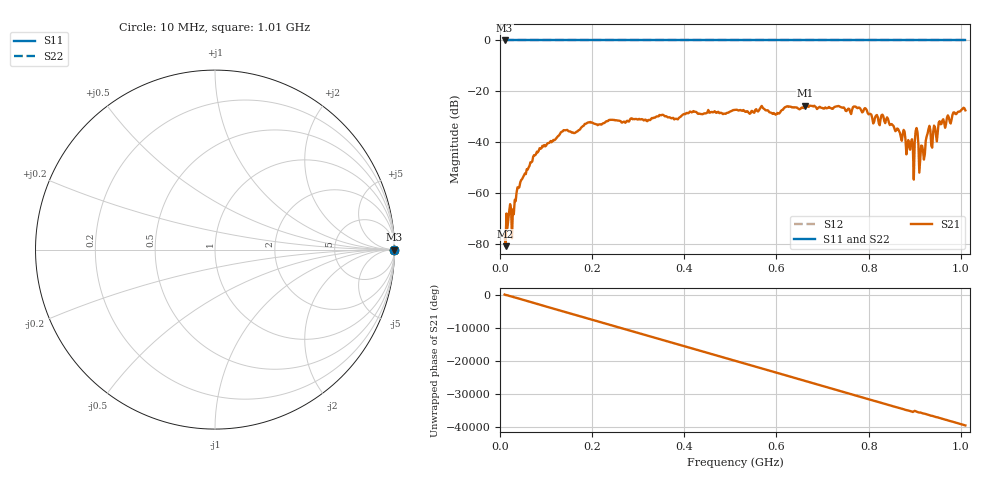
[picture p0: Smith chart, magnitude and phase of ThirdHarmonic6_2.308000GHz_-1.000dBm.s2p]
! 8/17/2025 3:11:10 AM
! C:\ANRITSUVNA\TEMP\TEMP.S2P
! CHANNEL.1
! TR.MEASUREMENT
! RAW.DATA
! RF.CORRECTION.OFF
! AVERAGING.OFF
! IF.BANDWIDTH: 5KHZ
! SWEEPTYPE:  FREQ.SWEEP(Linear)
! Reference Plane Port Info
! PORT:  PORT1  PORT2
! DISTANCE:  0  m  0  m
! TIME:  0  s  0  s
! PHASE.OFFSET:  0  deg.  0  deg.
! LOSS:  0  dB  0  dB
! REF.LOSS:  0  dB  0  dB
! REF.FREQ:  0  Hz  0  Hz
! Power Info
! POWER:  -20  dBm  -20  dBm
! EFF.POWER:  -20  dBm  -20  dBm
! SOURCE.ATTEN:  0  dB  0  dB
! TEST.ATTEN:  0  dB  0  dB
# GHZ S RI R 50.0
! FREQ.GHZ  S11RE  S11IM  S21RE  S21IM  S12RE  S12IM  S22RE  S22IM
!; PortSelection: Port_12
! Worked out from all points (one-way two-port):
!   501 points, 10 MHz to 1.01 GHz, reference 50 ohm
!   highest |S21| = -25.60 dB at 662 MHz (marker M1); lowest = -80.8 dB at 12 MHz (marker M2)
!   lowest |S11| = 0.0 dB at 10 MHz (marker M3)
!   |S11| at or under -10 dB: nowhere
!   |S22| runs from 0.0 to 0.0 dB; largest |S21 - S12| = 1.1
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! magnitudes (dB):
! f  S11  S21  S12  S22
! 10 MHz  0.0  -76.1  0.0  0.0
! 12 MHz  0.0  -80.8  0.0  0.0
! 18 MHz  0.0  -70.2  0.0  0.0
! 30 MHz  0.0  -68.2  0.0  0.0
! 42 MHz  0.0  -57.6  0.0  0.0
! 76 MHz  0.0  -45.1  0.0  0.0
! 136 MHz  0.0  -35.7  0.0  0.0
! 178 MHz  0.0  -33.9  0.0  0.0
! 344 MHz  0.0  -29.8  0.0  0.0
! 510 MHz  0.0  -27.2  0.0  0.0
! 662 MHz  0.0  -25.6  0.0  0.0
! 678 MHz  0.0  -25.7  0.0  0.0
! 770 MHz  0.0  -25.9  0.0  0.0
! 844 MHz  0.0  -32.2  0.0  0.0
! 890 MHz  0.0  -42.9  0.0  0.0
! 894 MHz  0.0  -38.8  0.0  0.0
! 904 MHz  0.0  -34.4  0.0  0.0
! 914 MHz  0.0  -41.3  0.0  0.0
! 930 MHz  0.0  -34.7  0.0  0.0
! 938 MHz  0.0  -42.1  0.0  0.0
! 956 MHz  0.0  -32.9  0.0  0.0
! 1.01 GHz  0.0  -27.4  0.0  0.0
